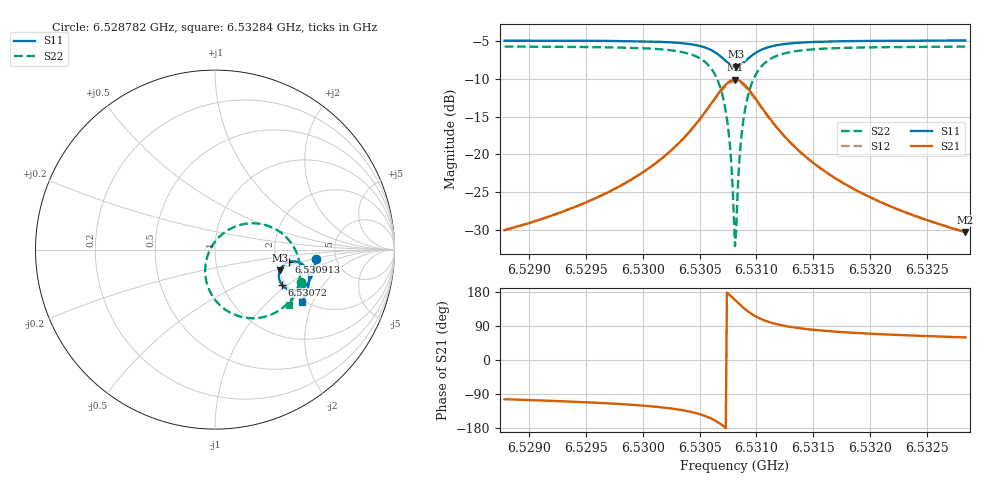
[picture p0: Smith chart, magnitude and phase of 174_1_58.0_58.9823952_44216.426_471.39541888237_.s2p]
#  HZ  S  RI  R  50.00
! Rohde & Schwarz Vector Network Analyzer
! Rohde-Schwarz,ZNB20-2Port,1311601062101988,3.16
! Created: UTC 3/21/2024, 12:58:03 AM
! freq[Hz]  re:S11  im:S11  re:S21  im:S21  re:S12  im:S12  re:S22  im:S22
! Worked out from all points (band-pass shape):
!   401 points, 6.528782 GHz to 6.53284 GHz, reference 50 ohm
!   highest |S21| = -10.13 dB at 6.530811 GHz (marker M1); lowest = -30.3 dB at 6.53284 GHz (marker M2)
!   |S21| within 3 dB of the highest: 6.530609 GHz to 6.531015 GHz (406.2 kHz wide, 0.00622 % of centre)
!   lowest |S11| = -8.4 dB at 6.530821 GHz (marker M3), VSWR 2.22, Z = 102 - j27.6 ohm
!   |S11| at or under -10 dB: nowhere
!   |S22| runs from -32.1 to -5.8 dB; largest |S21 - S12| = 0.013
!   S11 on the Smith chart (normalised r, x): 6.528782 GHz: 3.49, -0.52; 6.53072 GHz: 1.90, -0.90; 6.530913 GHz: 2.37, -0.39; 6.53284 GHz: 1.94, -1.66
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6.5287824e9  0.5604 -0.0511  -0.0075 -0.0307  -0.00807 -0.0307  0.4816 -0.1812
6.5294621e9  0.5511 -0.1082  -0.017 -0.0437  -0.018 -0.0434  0.4493 -0.2442
6.5301417e9  0.524 -0.1771  -0.051 -0.0753  -0.0532 -0.0738  0.3655 -0.3332
6.530375e9  0.4973 -0.2075  -0.0913 -0.0949  -0.0943 -0.0918  0.2833 -0.3723
6.5305475e9  0.4534 -0.2275  -0.1604 -0.1016  -0.1629 -0.0949  0.1553 -0.3768
6.5306489e9  0.4079 -0.2226  -0.2311 -0.075  -0.2304 -0.0649  0.037 -0.3183
6.5307199e9  0.3721 -0.1952  -0.2831 -0.0156  -0.2773 -0.00516  -0.039 -0.2081
6.5307605e9  0.3585 -0.167  -0.2994 0.0381  -0.2902 0.0466  -0.055 -0.1159
6.5307707e9  0.3567 -0.1589  -0.3006 0.0531  -0.2905 0.061  -0.0537 -0.0909
6.5308011e9  0.3569 -0.1331  -0.2946 0.0995  -0.2834 0.1043  -0.0348 -0.0165
6.5308112e9  0.3588 -0.1246  -0.2895 0.1147  -0.2782 0.1182  -0.0238 0.00711
6.5308214e9  0.3616 -0.1163  -0.2831 0.1289  -0.2718 0.1317  -0.0102 0.0295
6.5308315e9  0.3653 -0.1084  -0.2751 0.1427  -0.2639 0.1445  0.00524 0.0503
6.530862e9  0.3807 -0.088  -0.245 0.1776  -0.2348 0.1768  0.0614 0.1015
6.5308822e9  0.3934 -0.078  -0.2211 0.1945  -0.2121 0.1925  0.1037 0.1248
6.5309127e9  0.4139 -0.0685  -0.1837 0.2101  -0.1767 0.2073  0.1685 0.1436
6.5309837e9  0.4576 -0.0676  -0.1073 0.2126  -0.1036 0.2095  0.2968 0.132
6.5310851e9  0.4962 -0.0894  -0.0414 0.1814  -0.0397 0.1796  0.4029 0.0628
6.5312373e9  0.5187 -0.1254  -0.00156 0.134  -0.000297 0.1335  0.4607 -0.034
6.5314909e9  0.5249 -0.169  0.0155 0.0877  0.0165 0.0873  0.4747 -0.1325
6.5321705e9  0.5081 -0.2403  0.018 0.0422  0.0185 0.0418  0.4454 -0.2493
6.53284e9  0.4835 -0.2916  0.0155 0.0265  0.016 0.0263  0.4104 -0.3093
